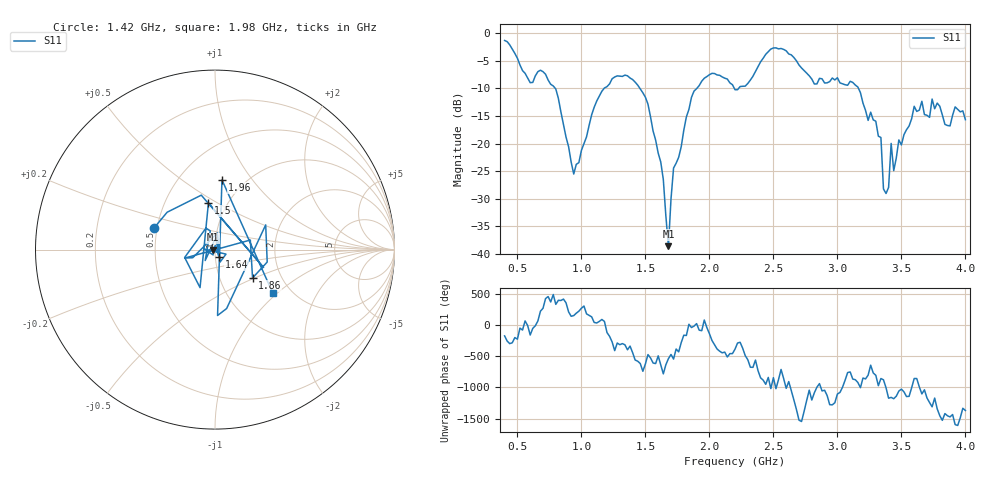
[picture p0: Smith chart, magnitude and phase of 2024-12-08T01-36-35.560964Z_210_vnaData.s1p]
!Created with skrf (http://scikit-rf.org).
# Hz S RI R 50.0
!freq ReS11 ImS11
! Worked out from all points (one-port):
!   181 points, 400 MHz to 4 GHz, reference 50 ohm
!   lowest |S11| = -38.6 dB at 1.68 GHz (marker M1), VSWR 1.02, Z = 48.8 - j0.0705 ohm
!   |S11| at or under -10 dB: 795.9 MHz to 1.178 GHz (381.7 MHz wide, 38.7 % of centre); 1.457 GHz to 1.902 GHz (444.8 MHz wide, 26.5 % of centre); 3.165 GHz to end of sweep (the widest 3 of 4)
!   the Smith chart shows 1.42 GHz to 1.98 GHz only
!   S11 on the Smith chart (normalised r, x): 1.42 GHz: 0.48, +0.13; 1.5 GHz: 0.81, +0.46; 1.64 GHz: 1.04, -0.09; 1.86 GHz: 1.43, -0.49; 1.96 GHz: 0.79, +0.72; 1.98 GHz: 1.61, -0.94
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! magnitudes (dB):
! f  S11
! 400 MHz  -1.3
! 600 MHz  -9.0
! 720 MHz  -7.4
! 860 MHz  -16.6
! 940 MHz  -25.5
! 1.12 GHz  -12.3
! 1.3 GHz  -7.8
! 1.42 GHz  -8.9
! 1.5 GHz  -11.6
! 1.64 GHz  -26.5
! 1.68 GHz  -38.6
! 1.72 GHz  -24.4
! 1.76 GHz  -22.5
! 1.86 GHz  -11.6
! 1.96 GHz  -8.2
! 1.98 GHz  -7.9
! 2.2 GHz  -10.2
! 2.48 GHz  -2.9
! 2.66 GHz  -4.4
! 3.1 GHz  -8.7
! 3.3 GHz  -16.0
! 3.34 GHz  -18.9
! 3.38 GHz  -29.1
! 3.42 GHz  -20.0
! 3.44 GHz  -24.9
! 3.56 GHz  -16.8
! 3.74 GHz  -11.9
! 4 GHz  -15.7
